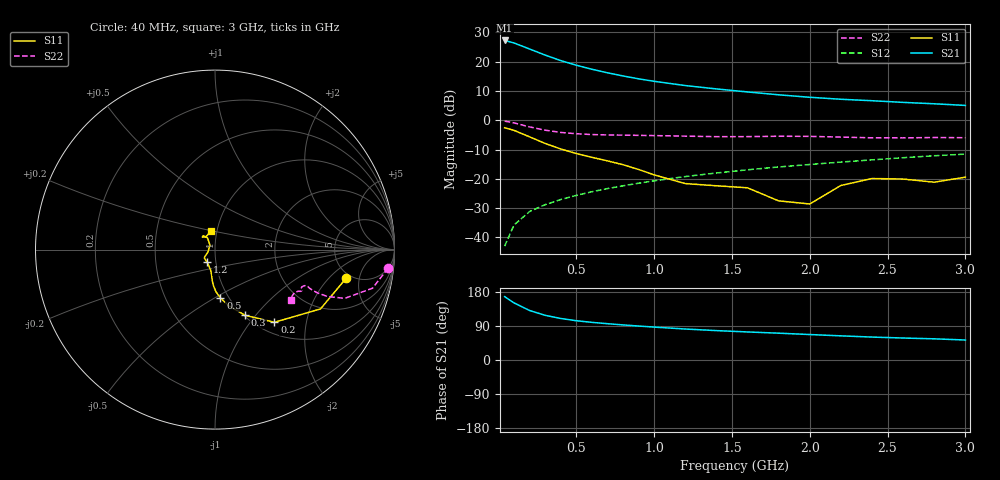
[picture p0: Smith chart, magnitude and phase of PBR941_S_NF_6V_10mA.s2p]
! Filename:  PBR941N.S2P  Version:  3.0
! Philips part #:  PBR941  Date: July 1998
! Bias condition:  Vce=6V, Ic=10mA
#  MHz  S  MA  R 50
! Freq  S11  S21  S12  S22
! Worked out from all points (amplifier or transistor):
!   21 points, 40 MHz to 3 GHz, reference 50 ohm
!   highest |S21| = 27.3 dB at 40 MHz (marker M1)
!   |S21| within 3 dB of that: start of sweep to 204.5 MHz
!   unconditionally stable (mu >= 1): 1.012 GHz to 2.351 GHz
!   at 300 MHz: K = 0.69, MSG = 25.5 dB, |S12| = -28.8 dB
!   at 1 GHz: K = 1.00, MSG = 17.0 dB, |S12| = -20.7 dB
!   at 3 GHz: K = 0.98, MSG = 8.3 dB, |S12| = -11.5 dB
!   lowest NFmin = 1.70 dB at 500 MHz
!   S11 on the Smith chart (normalised r, x): 40 MHz: 4.47, -3.25; 200 MHz: 1.19, -1.32; 300 MHz: 1.01, -0.89; 500 MHz: 0.91, -0.53; 1.2 GHz: 0.91, -0.13; 3 GHz: 0.94, +0.20
40  0.7473 -12.4  23.1 167.3  0.007101 83.6  0.97 -6.1
100  0.6742 -29.4  20.94 150.8  0.01628 76.7  0.9035 -13.8
200  0.523 -50.7  16.53 130.7  0.02766 70.6  0.7722 -20.6
300  0.4034 -65.3  13 118.0  0.03628 69.8  0.6786 -22.6
400  0.3246 -75.9  10.48 109.6  0.0444 70.4  0.622 -22.9
500  0.2711 -83.7  8.734 103.7  0.05219 71.8  0.5898 -22.7
600  0.2338 -88.8  7.452 99.4  0.06028 72.9  0.5717 -22.3
700  0.2033 -92.2  6.484 95.8  0.06831 74.2  0.5626 -22.0
800  0.1748 -95.0  5.723 92.6  0.07613 74.9  0.5584 -21.7
900  0.1451 -97.4  5.115 89.6  0.08429 75.5  0.5538 -21.6
1000  0.1173 -101.8  4.637 86.9  0.09269 75.7  0.5488 -21.5
1200  0.08316 -121.2  3.924 81.8  0.1096 76.4  0.5368 -22.0
1400  0.07628 -141.0  3.437 77.6  0.126 76.4  0.5259 -23.3
1600  0.07049 -144.8  3.052 74.0  0.143 76.6  0.5267 -24.6
1800  0.04216 -160.4  2.727 70.8  0.1598 76.8  0.5347 -25.4
2000  0.03729 138.7  2.474 67.2  0.1761 76.3  0.5321 -25.9
2200  0.07714 122.4  2.289 63.7  0.1938 75.4  0.517 -26.7
2400  0.1015 130.2  2.161 60.5  0.2112 75.0  0.5031 -28.6
2600  0.09933 135.4  2.024 58.0  0.23 74.6  0.5016 -31.3
2800  0.08785 123.8  1.916 55.9  0.2485 74.2  0.5085 -33.1
3000  0.1071 100.9  1.796 52.8  0.2647 73.2  0.5049 -33.5
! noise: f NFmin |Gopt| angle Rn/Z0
500  1.702  0.176  2.23  0.345
900  1.72  0.165  18.62  0.237
1000  1.76  0.172  29.24  0.258
2000  2.331  0.065  -139.9  0.254
